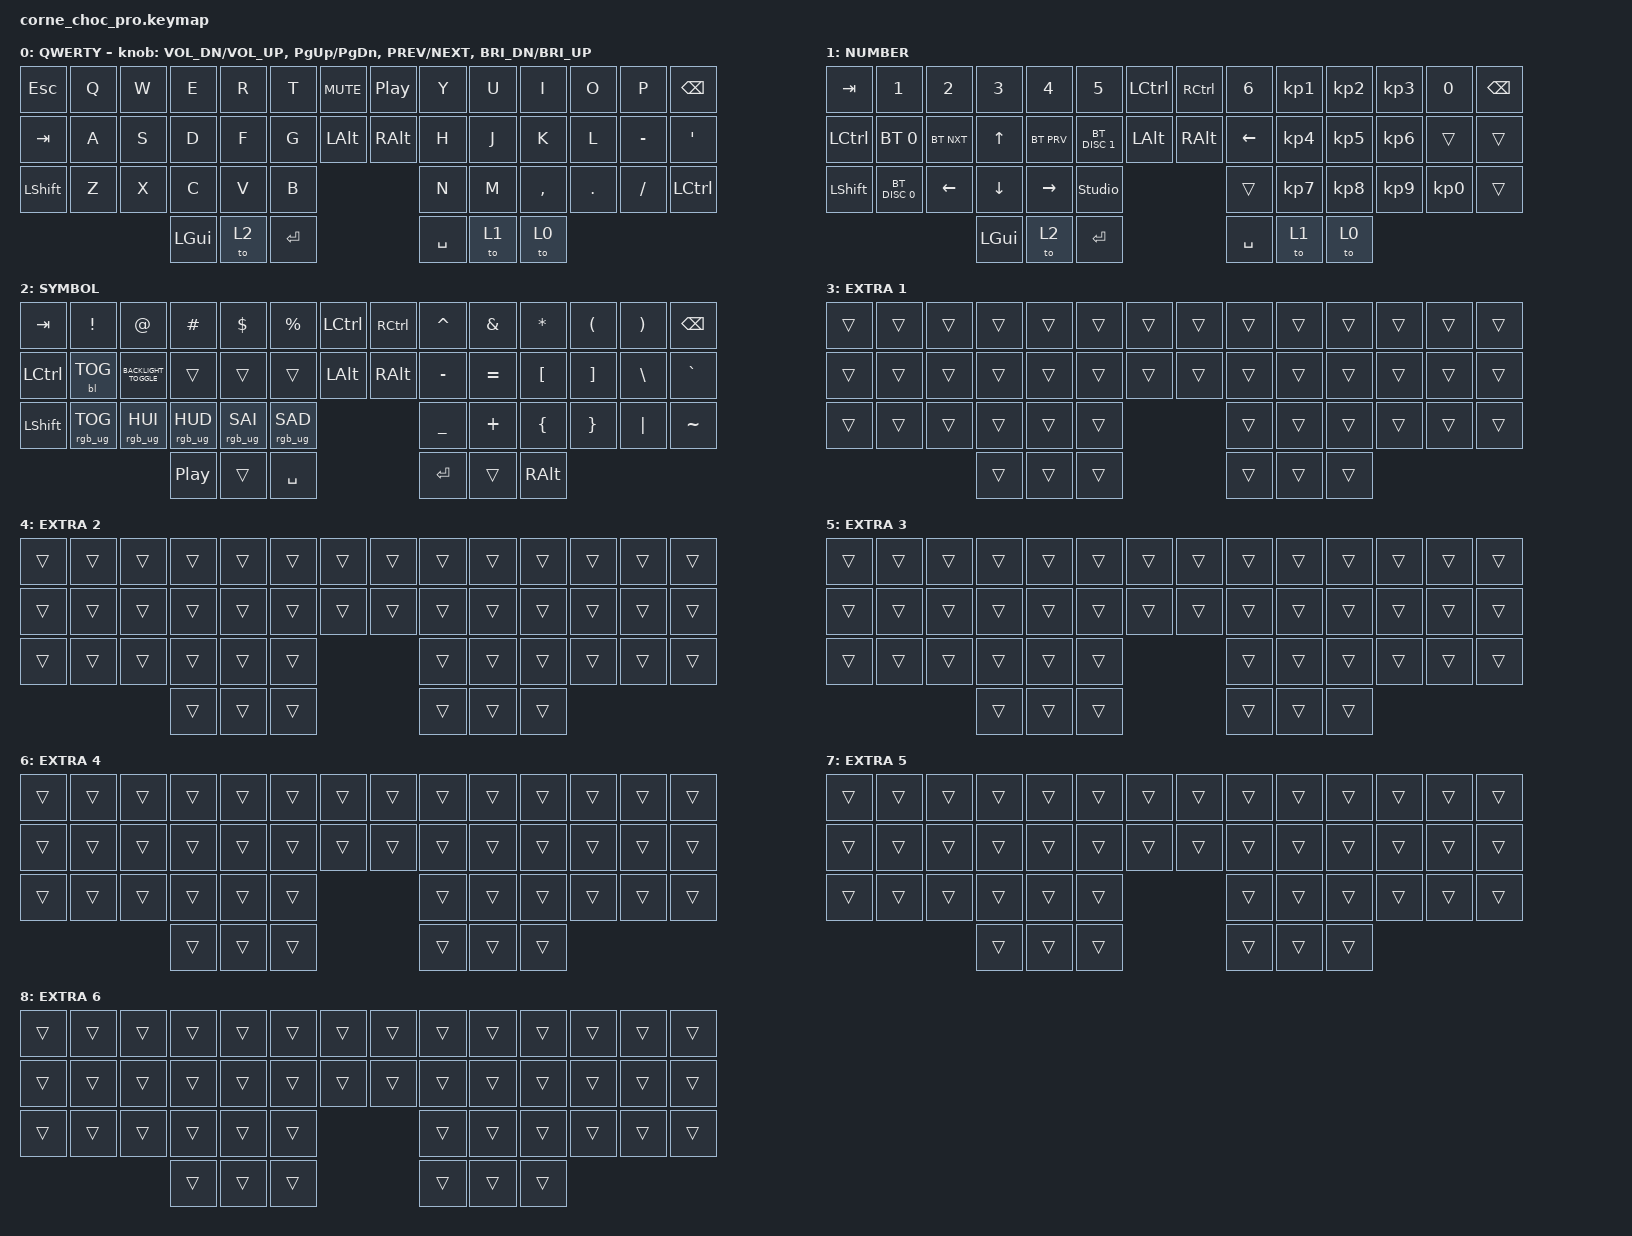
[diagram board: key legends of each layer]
/*
 * Copyright (c) 2020 The ZMK Contributors
 *
 * SPDX-License-Identifier: MIT
 */

#include <behaviors.dtsi>
#include <dt-bindings/zmk/backlight.h>
#include <dt-bindings/zmk/bt.h>
#include <dt-bindings/zmk/keys.h>
#include <dt-bindings/zmk/rgb.h>

/ {
    chosen { zmk,physical-layout = &default_layout; };
};

/ {
    keymap {
        compatible = "zmk,keymap";

        default_layer {
            display-name = "QWERTY";

            // --------------------------------------------------------------------------------
            // |  TAB |  Q  |  W  |  E  |  R  |  T  |  MUTE |  PP   |  Y  |  U   |  I  |  O  |  P  | BSPC |
            // | CTRL |  A  |  S  |  D  |  F  |  G  |  LALT |  RALT |  H  |  J   |  K  |  L  |  ;  |  '   |
            // | SHFT |  Z  |  X  |  C  |  V  |  B  |               |  N  |  M   |  ,  |  .  |  /  | ESC  |
            //                    | GUI | LWR | SPC |               | ENT | RSE  | ALT |

            bindings = <
&kp ESCAPE  &kp Q  &kp W  &kp E     &kp R  &kp T       &kp C_MUTE  &kp C_PP  &kp Y      &kp U  &kp I      &kp O    &kp P      &kp BSPC
&kp TAB     &kp A  &kp S  &kp D     &kp F  &kp G       &kp LALT    &kp RALT  &kp H      &kp J  &kp K      &kp L    &kp MINUS  &kp SQT
&kp LSHFT   &kp Z  &kp X  &kp C     &kp V  &kp B                             &kp N      &kp M  &kp COMMA  &kp DOT  &kp FSLH   &kp LEFT_CONTROL
                          &kp LGUI  &to 2  &kp RETURN                        &kp SPACE  &to 1  &to 0
            >;

            sensor-bindings = <&inc_dec_kp C_VOL_DN C_VOL_UP &inc_dec_kp PG_UP PG_DN &inc_dec_kp C_PREV C_NEXT &inc_dec_kp C_BRI_DN C_BRI_UP>;
        };

        lower_layer {
            display-name = "NUMBER";

            // -----------------------------------------------------------------------------------------
            // |  TAB |  1  |  2  |  3  |  4  |  5    |  LCTRL | RCTRL |  6  |  7  |  8  |  9  |  0  | BSPC |
            // | CTRL | BT1 | BT2 | BT3 | BT4 | BT5   |  LALT  | RALT  | LFT | DWN |  UP | RGT |     |      |
            // | SHFT | BTCR| RGB | RST | BOOT| Unlock|        |       |     |     |     |     |     |      |
            //                    | GUI |     | SPC   |        | ENT   |     | ALT |

            bindings = <
&kp TAB    &kp N1         &kp N2          &kp N3          &kp N4           &kp N5          &kp LCTRL  &kp RCTRL  &kp N6     &kp KP_NUMBER_1  &kp KP_NUMBER_2  &kp KP_NUMBER_3  &kp N0           &kp BSPC
&kp LCTRL  &bt BT_SEL 0   &bt BT_NXT      &kp UP_ARROW    &bt BT_PRV       &bt BT_DISC 1   &kp LALT   &kp RALT   &kp LEFT   &kp KP_NUMBER_4  &kp KP_NUMBER_5  &kp KP_NUMBER_6  &trans           &trans
&kp LSHFT  &bt BT_DISC 0  &kp LEFT_ARROW  &kp DOWN_ARROW  &kp RIGHT_ARROW  &studio_unlock                        &trans     &kp KP_NUMBER_7  &kp KP_NUMBER_8  &kp KP_NUMBER_9  &kp KP_NUMBER_0  &trans
                                          &kp LGUI        &to 2            &kp ENTER                             &kp SPACE  &to 1            &to 0
            >;
        };

        raise_layer {
            display-name = "SYMBOL";

            // -----------------------------------------------------------------------------------------
            // |  TAB |  !  |  @  |  #  |  $  |  %  | LCTRL | RCTRL |  ^  |  &  |  *  |  (  |  )  | BSPC |
            // | CTRL |     |     |     |     |     |  LALT | RALT  |  -  |  =  |  [  |  ]  |  \  |  `   |
            // | SHFT |     |     |     |     |     |               |  _  |  +  |  {  |  }  | "|" |  ~   |
            //                    | GUI |     | SPC |               | ENT |     | ALT |

            bindings = <
&kp TAB    &kp EXCL         &kp AT                  &kp HASH          &kp DLLR         &kp PRCNT        &kp LCTRL  &kp RCTRL  &kp CARET  &kp AMPS   &kp ASTRK  &kp LPAR  &kp RPAR  &kp BSPC
&kp LCTRL  &bl BL_TOG       &kp C_BACKLIGHT_TOGGLE  &trans            &trans           &trans           &kp LALT   &kp RALT   &kp MINUS  &kp EQUAL  &kp LBKT   &kp RBKT  &kp BSLH  &kp GRAVE
&kp LSHFT  &rgb_ug RGB_TOG  &rgb_ug RGB_HUI         &rgb_ug RGB_HUD   &rgb_ug RGB_SAI  &rgb_ug RGB_SAD                        &kp UNDER  &kp PLUS   &kp LBRC   &kp RBRC  &kp PIPE  &kp TILDE
                                                    &kp C_PLAY_PAUSE  &trans           &kp SPACE                              &kp RET    &trans     &kp RALT
            >;
        };

        extra_layer_1 {
            display-name = "EXTRA 1";
            bindings = <
&trans  &trans  &trans  &trans  &trans  &trans  &trans  &trans  &trans  &trans  &trans  &trans  &trans  &trans
&trans  &trans  &trans  &trans  &trans  &trans  &trans  &trans  &trans  &trans  &trans  &trans  &trans  &trans
&trans  &trans  &trans  &trans  &trans  &trans                  &trans  &trans  &trans  &trans  &trans  &trans
                        &trans  &trans  &trans                  &trans  &trans  &trans
            >;
        };

        extra_layer_2 {
            display-name = "EXTRA 2";
            bindings = <
&trans  &trans  &trans  &trans  &trans  &trans  &trans  &trans  &trans  &trans  &trans  &trans  &trans  &trans
&trans  &trans  &trans  &trans  &trans  &trans  &trans  &trans  &trans  &trans  &trans  &trans  &trans  &trans
&trans  &trans  &trans  &trans  &trans  &trans                  &trans  &trans  &trans  &trans  &trans  &trans
                        &trans  &trans  &trans                  &trans  &trans  &trans
            >;
        };

        extra_layer_3 {
            display-name = "EXTRA 3";
            bindings = <
&trans  &trans  &trans  &trans  &trans  &trans  &trans  &trans  &trans  &trans  &trans  &trans  &trans  &trans
&trans  &trans  &trans  &trans  &trans  &trans  &trans  &trans  &trans  &trans  &trans  &trans  &trans  &trans
&trans  &trans  &trans  &trans  &trans  &trans                  &trans  &trans  &trans  &trans  &trans  &trans
                        &trans  &trans  &trans                  &trans  &trans  &trans
            >;
        };

        extra_layer_4 {
            display-name = "EXTRA 4";
            bindings = <
&trans  &trans  &trans  &trans  &trans  &trans  &trans  &trans  &trans  &trans  &trans  &trans  &trans  &trans
&trans  &trans  &trans  &trans  &trans  &trans  &trans  &trans  &trans  &trans  &trans  &trans  &trans  &trans
&trans  &trans  &trans  &trans  &trans  &trans                  &trans  &trans  &trans  &trans  &trans  &trans
                        &trans  &trans  &trans                  &trans  &trans  &trans
            >;
        };

        extra_layer_5 {
            display-name = "EXTRA 5";
            bindings = <
&trans  &trans  &trans  &trans  &trans  &trans  &trans  &trans  &trans  &trans  &trans  &trans  &trans  &trans
&trans  &trans  &trans  &trans  &trans  &trans  &trans  &trans  &trans  &trans  &trans  &trans  &trans  &trans
&trans  &trans  &trans  &trans  &trans  &trans                  &trans  &trans  &trans  &trans  &trans  &trans
                        &trans  &trans  &trans                  &trans  &trans  &trans
            >;
        };

        extra_layer_6 {
            display-name = "EXTRA 6";
            bindings = <
&trans  &trans  &trans  &trans  &trans  &trans  &trans  &trans  &trans  &trans  &trans  &trans  &trans  &trans
&trans  &trans  &trans  &trans  &trans  &trans  &trans  &trans  &trans  &trans  &trans  &trans  &trans  &trans
&trans  &trans  &trans  &trans  &trans  &trans                  &trans  &trans  &trans  &trans  &trans  &trans
                        &trans  &trans  &trans                  &trans  &trans  &trans
            >;
        };
    };
};
